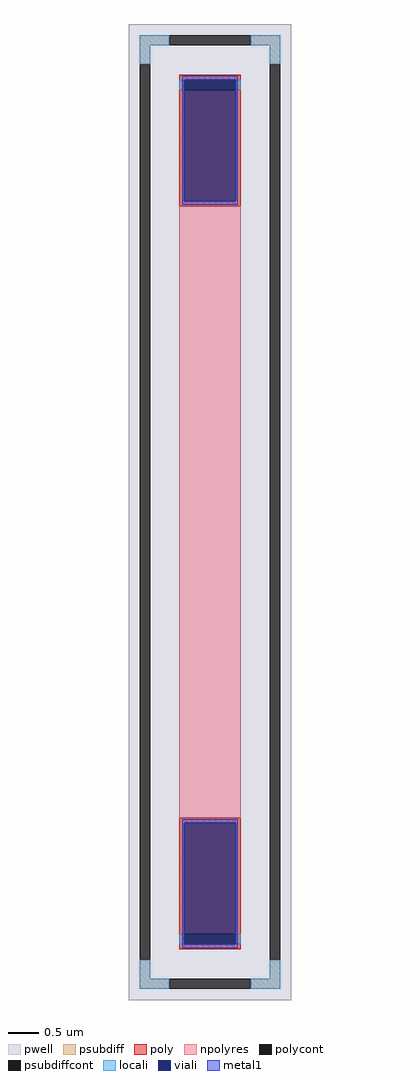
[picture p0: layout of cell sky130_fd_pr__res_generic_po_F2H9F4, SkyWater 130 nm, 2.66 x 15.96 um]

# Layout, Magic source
magic
tech sky130B
magscale 1 2
<< pwell >>
rect -266 -1596 266 1596
<< psubdiff >>
rect -230 1526 -134 1560
rect 134 1526 230 1560
rect -230 1464 -196 1526
rect 196 1464 230 1526
rect -230 -1526 -196 -1464
rect 196 -1526 230 -1464
rect -230 -1560 -134 -1526
rect 134 -1560 230 -1526
<< psubdiffcont >>
rect -134 1526 134 1560
rect -230 -1464 -196 1464
rect 196 -1464 230 1464
rect -134 -1560 134 -1526
<< poly >>
rect -100 1414 100 1430
rect -100 1380 -84 1414
rect 84 1380 100 1414
rect -100 1000 100 1380
rect -100 -1380 100 -1000
rect -100 -1414 -84 -1380
rect 84 -1414 100 -1380
rect -100 -1430 100 -1414
<< polycont >>
rect -84 1380 84 1414
rect -84 -1414 84 -1380
<< npolyres >>
rect -100 -1000 100 1000
<< locali >>
rect -230 1526 -134 1560
rect 134 1526 230 1560
rect -230 1464 -196 1526
rect 196 1464 230 1526
rect -100 1380 -84 1414
rect 84 1380 100 1414
rect -100 -1414 -84 -1380
rect 84 -1414 100 -1380
rect -230 -1526 -196 -1464
rect 196 -1526 230 -1464
rect -230 -1560 -134 -1526
rect 134 -1560 230 -1526
<< viali >>
rect -84 1380 84 1414
rect -84 1017 84 1380
rect -84 -1380 84 -1017
rect -84 -1414 84 -1380
<< metal1 >>
rect -90 1414 90 1426
rect -90 1017 -84 1414
rect 84 1017 90 1414
rect -90 1005 90 1017
rect -90 -1017 90 -1005
rect -90 -1414 -84 -1017
rect 84 -1414 90 -1017
rect -90 -1426 90 -1414
<< properties >>
string FIXED_BBOX -213 -1543 213 1543
string gencell sky130_fd_pr__res_generic_po
string library sky130
string parameters w 1.0 l 10.0 m 1 nx 1 wmin 0.330 lmin 1.650 rho 48.2 val 482.0 dummy 0 dw 0.0 term 0.0 sterm 0.0 caplen 0.4 snake 0 guard 1 glc 1 grc 1 gtc 1 gbc 1 roverlap 0 endcov 100 full_metal 1 hv_guard 0 n_guard 0 vias 1 viagb 0 viagt 0 viagl 0 viagr 0
<< end >>
